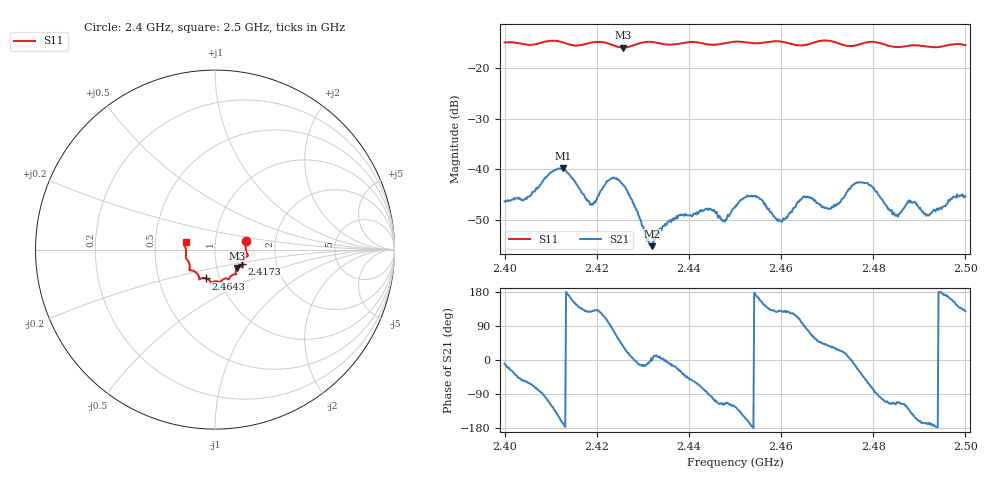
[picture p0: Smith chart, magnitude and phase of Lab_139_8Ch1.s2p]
# Hz S RI R 50
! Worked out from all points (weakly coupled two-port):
!   601 points, 2.4 GHz to 2.5 GHz, reference 50 ohm
!   highest |S21| = -39.78 dB at 2.4127 GHz (marker M1); lowest = -55.2 dB at 2.432 GHz (marker M2)
!   lowest |S11| = -15.9 dB at 2.4257 GHz (marker M3), VSWR 1.38, Z = 62.5 - j13.1 ohm
!   |S11| at or under -10 dB: start of sweep to end of sweep
!   S12 and S22 are empty: the file has one direction only
!   S11 on the Smith chart (normalised r, x): 2.4 GHz: 1.41, +0.14; 2.4173 GHz: 1.34, -0.23; 2.4643 GHz: 0.86, -0.28; 2.5 GHz: 0.72, +0.06
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2.4e9  0.173 0.0495  0.00476 -0.000822  0 0  0 0
2.412667e9  0.176 -0.0395  -0.00999 -0.00232  0 0  0 0
2.416667e9  0.1529 -0.0745  -0.0043 0.00401  0 0  0 0
2.417333e9  0.1521 -0.0818  -0.00355 0.00414  0 0  0 0
2.419e9  0.1532 -0.0947  -0.0029 0.00354  0 0  0 0
2.422667e9  0.1478 -0.0935  -0.000832 0.00779  0 0  0 0
2.425667e9  0.1229 -0.1023  0.00563 0.00424  0 0  0 0
2.432e9  0.1186 -0.1385  0.00174 -4.77e-05  0 0  0 0
2.433333e9  0.1131 -0.1369  0.00251 0.000306  0 0  0 0
2.443667e9  0.0657 -0.1608  0.000566 -0.00404  0 0  0 0
2.447667e9  0.037 -0.1723  -0.00148 -0.00278  0 0  0 0
2.45e9  0.0294 -0.181  -0.00231 -0.0035  0 0  0 0
2.4545e9  0.00593 -0.1764  -0.00539 0.000843  0 0  0 0
2.459833e9  -0.0233 -0.1829  -0.00198 0.00236  0 0  0 0
2.464333e9  -0.05 -0.1606  -0.000887 0.00492  0 0  0 0
2.466667e9  -0.0758 -0.1597  0.00223 0.00459  0 0  0 0
2.470833e9  -0.0874 -0.1641  0.00335 0.00237  0 0  0 0
2.478e9  -0.1352 -0.1158  0.00507 -0.00524  0 0  0 0
2.483333e9  -0.1409 -0.0899  -0.0016 -0.00377  0 0  0 0
2.488667e9  -0.1619 -0.0475  -0.00385 -0.00262  0 0  0 0
2.492e9  -0.161 -0.0253  -0.00338 -0.000821  0 0  0 0
2.5e9  -0.1639 0.0423  -0.00334 0.00424  0 0  0 0
